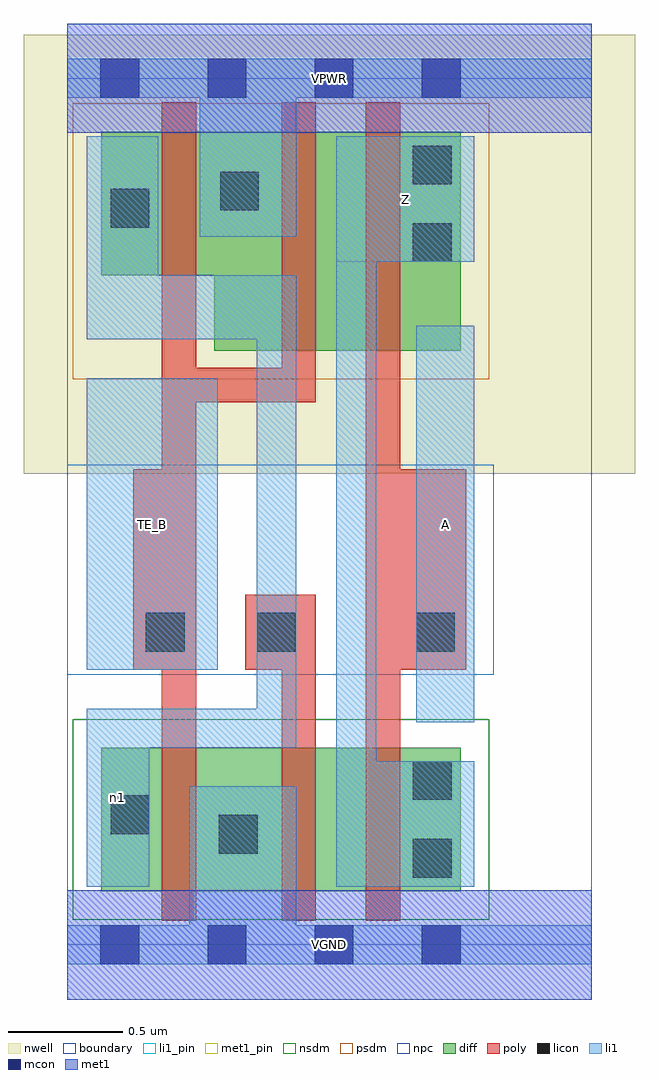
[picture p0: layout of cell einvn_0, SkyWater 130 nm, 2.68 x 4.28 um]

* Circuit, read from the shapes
.subckt einvn_0 A TE_B VGND VPWR Z n1
XM1 VGND TE_B n1 VSUBS sky130_fd_pr__nfet_01v8 w=0.63 l=0.15
XM2 n2 n1 VGND VSUBS sky130_fd_pr__nfet_01v8 w=0.63 l=0.15
XM3 Z A n2 VSUBS sky130_fd_pr__nfet_01v8 w=0.63 l=0.15
XM4 VPWR TE_B n1 n3 sky130_fd_pr__pfet_01v8 w=0.63 l=0.15
XM5 n4 TE_B VPWR n3 sky130_fd_pr__pfet_01v8 w=0.96 l=0.15
XM6 Z A n4 n3 sky130_fd_pr__pfet_01v8 w=0.96 l=0.15
.ends

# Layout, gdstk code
import gdstk
lib = gdstk.Library(unit=1e-6, precision=1e-09)
def R(c, l, rs):  # rectangles x0, y0, x1, y1
    for r in rs: c.add(gdstk.rectangle(r[:2], r[2:], *l))
def A(c, l, x, y, w, h, nx, ny, dx, dy):  # array of equal rectangles
    R(c, l, [(x+i*dx, y+j*dy, x+i*dx+w, y+j*dy+h) for i in range(nx) for j in range(ny)])
nwell = (64, 20)
diff = (65, 20)
poly = (66, 20)
licon = (66, 44)
li1_pin = (67, 16)
li1 = (67, 20)
mcon = (67, 44)
met1_pin = (68, 16)
met1 = (68, 20)
nsdm = (93, 44)
psdm = (94, 20)
npc = (95, 20)
boundary = (235, 4)

einvn_0 = lib.new_cell('einvn_0')
R(einvn_0, nwell, [(-0.19,2.065,2.49,3.99), (0,2.065,2.3,3.99)])
R(einvn_0, diff, [(0.15,0.235,1.725,0.865), (0.645,2.605,1.725,3.565), (0.15,2.935,1.725,3.565)])
R(einvn_0, poly, [(0.415,0.105,0.565,3.695), (0.94,0.105,1.09,1.535), (1.31,0.105,1.46,3.695), (0.29,1.205,0.565,2.085), (0.78,1.205,1.09,1.535), (1.31,1.205,1.75,2.085), (0.415,2.38,1.09,2.53), (0.94,2.38,1.09,3.695)])
R(einvn_0, licon, [(1.515,0.295,1.685,0.465), (0.665,0.4,0.835,0.57), (0.19,0.485,0.36,0.655), (1.515,0.635,1.685,0.805), (0.345,1.285,0.515,1.455), (0.83,1.285,1,1.455), (1.53,1.285,1.7,1.455), (1.515,2.995,1.685,3.165), (0.19,3.145,0.36,3.315), (0.67,3.22,0.84,3.39), (1.515,3.335,1.685,3.505)])
R(einvn_0, li1_pin, [(1.53,0.975,1.785,2.715), (0.085,1.205,0.66,2.485), (1.18,2.995,1.785,3.545)])
R(einvn_0, li1, [(0,-0.085,2.3,0.085), (0.535,-0.085,1.005,0.695), (0.085,0.255,0.36,1.035), (1.18,0.255,1.355,3.545), (1.18,0.255,1.785,0.805), (0.085,0.865,1.005,1.035), (0.83,0.865,1.005,2.935), (1.53,0.975,1.785,2.715), (0.085,1.205,0.66,2.485), (0.085,2.655,0.4,3.545), (0.085,2.655,1.005,2.935), (1.18,2.995,1.785,3.545), (0.58,3.105,1.005,3.885), (0,3.715,2.3,3.885)])
A(einvn_0, mcon, 0.145, -0.085, 0.17, 0.17, 4, 2, 0.47, 3.8)
R(einvn_0, met1_pin, [(0,-0.24,2.3,0.24), (0,3.56,2.3,4.04)])
R(einvn_0, met1, [(0,-0.24,2.3,0.24), (0,3.56,2.3,4.04)])
R(einvn_0, nsdm, [(0.025,0.11,1.85,0.99)])
R(einvn_0, psdm, [(0.025,2.48,1.85,3.69)])
R(einvn_0, npc, [(0,1.185,1.87,2.105)])
R(einvn_0, boundary, [(0,0,2.3,3.8)])
einvn_0.add(gdstk.Label('A', (1.657,1.845), layer=67, texttype=5))
einvn_0.add(gdstk.Label('TE_B', (0.372,1.845), layer=67, texttype=5))
einvn_0.add(gdstk.Label('Z', (1.482,3.27), layer=67, texttype=5))
einvn_0.add(gdstk.Label('n1', (0.222,0.645), layer=67, texttype=5))
einvn_0.add(gdstk.Label('VPWR', (1.15,3.8), layer=68, texttype=5))
einvn_0.add(gdstk.Label('VGND', (1.15,0), layer=68, texttype=5))
einvn_0.add(gdstk.Label('A', (1.657,1.845), layer=67, texttype=16))
einvn_0.add(gdstk.Label('TE_B', (0.372,1.845), layer=67, texttype=16))
einvn_0.add(gdstk.Label('Z', (1.482,3.27), layer=67, texttype=16))
einvn_0.add(gdstk.Label('VPWR', (1.15,3.8), layer=68, texttype=16))
einvn_0.add(gdstk.Label('VGND', (1.15,0), layer=68, texttype=16))

lib.write_gds('einvn_0.gds')
